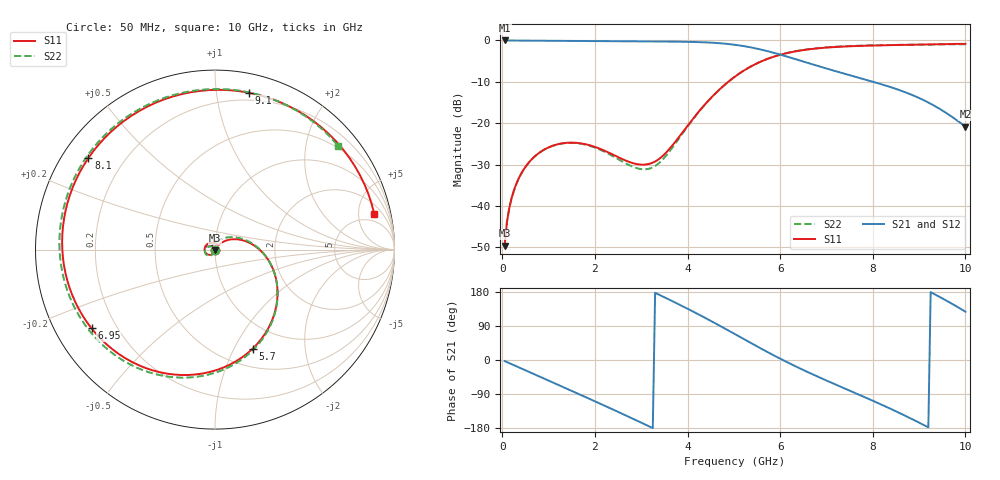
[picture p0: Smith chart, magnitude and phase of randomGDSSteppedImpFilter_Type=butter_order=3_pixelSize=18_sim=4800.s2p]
! freq	dB(S11)	phase(S11)	dB(S12)	phase(S12)
!  dB(S21)	phase(S21)	dB(S22)	phase(S22)
!S-par simulation data
#  GHz  S  DB  R 50
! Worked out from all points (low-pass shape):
!   200 points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, 50 MHz to 10 GHz, reference 50 ohm
!   highest |S21| = 0.00 dB at 50 MHz (marker M1); lowest = -20.8 dB at 10 GHz (marker M2)
!   |S21| within 3 dB of the highest: start of sweep to 5.867 GHz
!   lowest |S11| = -49.5 dB at 50 MHz (marker M3), VSWR 1.01, Z = 50 - j0.333 ohm
!   |S11| at or under -10 dB: start of sweep to 4.879 GHz
!   |S22| runs from -49.7 to -0.9 dB; largest |S21 - S12| = 0
!   S11 on the Smith chart (normalised r, x): 50 MHz: 1.00, -0.01; 5.7 GHz: 0.70, -1.19; 6.95 GHz: 0.11, -0.29; 8.1 GHz: 0.08, +0.32; 9.1 GHz: 0.14, +1.23; 10 GHz: 3.40, +7.69
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0.05  -49.55 -87.8  -0.00 -2.8  -0.00 -2.8  -49.69 -89.7
0.1  -43.91 -92.2  -0.01 -5.5  -0.01 -5.5  -43.85 -92.1
0.2  -38.12 -100.0  -0.02 -10.9  -0.02 -10.9  -38.20 -98.1
0.55  -29.80 -122.9  -0.05 -29.9  -0.05 -29.9  -29.82 -117.8
1.2  -25.06 -163.1  -0.09 -65.2  -0.09 -65.2  -25.09 -149.9
1.75  -24.96 160.9  -0.12 -95.2  -0.12 -95.2  -25.06 -175.3
2.65  -28.94 90.8  -0.18 -145.3  -0.18 -145.3  -29.60 150.9
3.4  -28.50 50.3  -0.24 171.5  -0.24 171.5  -29.46 100.9
3.85  -22.81 41.1  -0.30 144.5  -0.30 144.5  -23.12 58.8
4.35  -15.78 18.6  -0.45 113.2  -0.45 113.2  -15.85 22.1
4.7  -11.74 -2.3  -0.67 90.2  -0.67 90.2  -11.76 -1.7
5.05  -8.53 -25.2  -1.09 66.5  -1.09 66.5  -8.52 -25.2
5.7  -4.57 -69.3  -2.51 22.7  -2.51 22.7  -4.55 -68.0
6.2  -2.93 -101.9  -4.07 -8.8  -4.07 -8.8  -2.89 -98.4
6.7  -2.04 -132.7  -5.77 -37.8  -5.77 -37.8  -1.99 -126.2
6.95  -1.77 -147.5  -6.61 -51.5  -6.61 -51.5  -1.72 -139.3
7.55  -1.38 177.4  -8.55 -83.4  -8.55 -83.4  -1.33 -169.7
8.1  -1.20 144.1  -10.29 -112.9  -10.29 -112.9  -1.15 162.3
8.35  -1.14 128.3  -11.15 -126.8  -11.15 -126.8  -1.10 149.0
9.1  -0.97 77.7  -14.43 -171.4  -14.43 -171.4  -0.99 105.0
9.55  -0.88 45.4  -17.26 159.4  -17.26 159.4  -0.95 74.4
10  -0.83 12.4  -20.81 127.4  -20.81 127.4  -0.94 40.2
